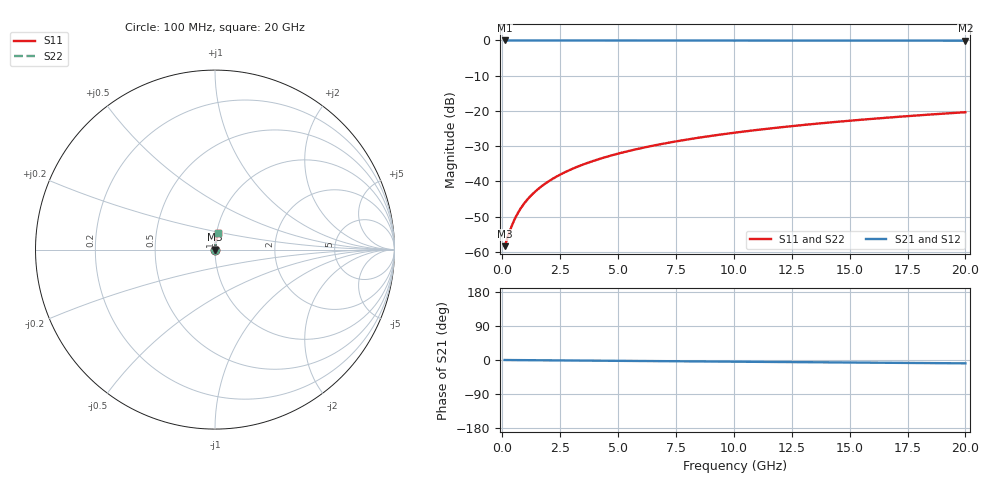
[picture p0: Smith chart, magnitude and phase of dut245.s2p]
! Touchstone file exported from HFSS 2026.1.0
!  File:  C:/ffzhzh/LocalFiles/Ansys_Project_Files/temp_train_TSV_245_1782992706_42984.aedt
!  Generated:  07:47:45 PM Jul  2, 2026
!  Design:  TSV
!  Project:  temp_train_TSV_245_1782992706_42984
! Variables:
!  h_bsmrdl = 2um
!  h_ox = 20um
!  h_rdl = 5um
!  h_sub = 66.37um
!  h_tmrdl = 5um
!  h_tsv = 66.37um
!  h_via = 3um
!  l_bsmrdl = 300um
!  l_sub = 405.34um
!  l_tmrdl = 200um
!  m_sub = 200um
!  pitch = 36.96um
!  r_tsv = 2.67um
!  s_tmrdl = 10um
!  w_bsmrdl = 18um
!  w_sub = 500um
!  w_tmrdl = 12um
!  x_tsv_center1 = 206um
!  x_tsv_center2 = 524um
!  x_tsv_center3 = 736um
!  x_tsv_center4 = 1054um
!  x_tsv_center5 = 1266um
!  x_tsv_center6 = 1584um
# GHz S MA R 50.000000
! Terminal data exported
! Port[1] = TSV1_1_T1
! Port[2] = TSV1_1_T2
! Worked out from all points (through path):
!   200 points, 100 MHz to 20 GHz, reference 50 ohm
!   highest |S21| = -0.01 dB at 100 MHz (marker M1); lowest = -0.1 dB at 20 GHz (marker M2)
!   group delay of S21, straight-line fit = 1.22 ps
!   lowest |S11| = -58.4 dB at 100 MHz (marker M3), VSWR 1.00, Z = 50.1 + j0.0507 ohm
!   |S11| at or under -10 dB: start of sweep to end of sweep
!   |S22| runs from -58.4 to -20.4 dB; largest |S21 - S12| = 3.1e-15
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0.1  0.001203 24.8  0.9989 -0.0  0.9989 -0.0  0.001203 24.8
! Gamma 0 0 0 0
! Port Impedance 50 0 50 0
0.3  0.001873 53.8  0.9989 -0.1  0.9989 -0.1  0.001873 53.8
0.4  0.002299 60.9  0.9989 -0.2  0.9989 -0.2  0.002299 60.9
0.5  0.002749 65.8  0.9989 -0.2  0.9989 -0.2  0.002749 65.8
0.6  0.003211 69.2  0.9989 -0.3  0.9989 -0.3  0.003211 69.2
0.7  0.003681 71.8  0.9989 -0.3  0.9989 -0.3  0.003681 71.8
0.9  0.004636 75.3  0.9988 -0.4  0.9988 -0.4  0.004636 75.3
1.2  0.006089 78.5  0.9988 -0.5  0.9988 -0.5  0.006089 78.5
1.4  0.007065 79.9  0.9988 -0.6  0.9988 -0.6  0.007065 79.9
1.7  0.008535 81.3  0.9988 -0.8  0.9988 -0.8  0.008535 81.3
2.2  0.01099 82.7  0.9987 -1.0  0.9987 -1.0  0.01099 82.7
2.8  0.01395 83.6  0.9987 -1.3  0.9987 -1.3  0.01395 83.6
3.5  0.01739 84.1  0.9985 -1.6  0.9985 -1.6  0.01739 84.1
4.2  0.02083 84.3  0.9984 -1.9  0.9984 -1.9  0.02083 84.3
5  0.02475 84.4  0.9982 -2.2  0.9982 -2.2  0.02475 84.4
5.9  0.02914 84.3  0.998 -2.6  0.998 -2.6  0.02914 84.3
6.8  0.03351 84.1  0.9978 -3.0  0.9978 -3.0  0.03351 84.1
8.3  0.04076 83.6  0.9973 -3.7  0.9973 -3.7  0.04076 83.6
10.1  0.04938 83.0  0.9967 -4.5  0.9967 -4.5  0.04938 83.0
13.4  0.06504 81.8  0.9954 -6.0  0.9954 -6.0  0.06504 81.8
16.7  0.08052 80.6  0.9939 -7.4  0.9939 -7.4  0.08052 80.6
20  0.09585 79.3  0.9923 -8.8  0.9923 -8.8  0.09585 79.3
